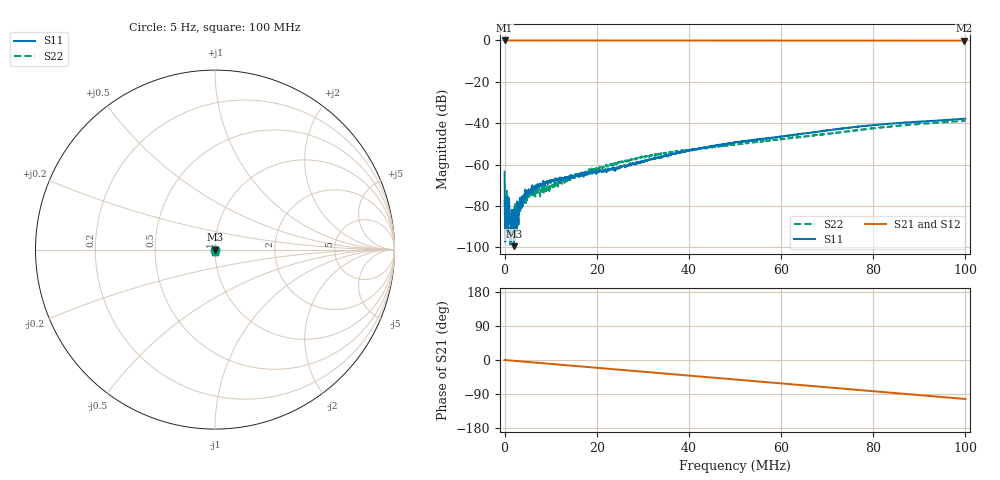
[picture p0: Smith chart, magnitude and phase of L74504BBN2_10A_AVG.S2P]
!Agilent Technologies,E5061B,MY49102235,A.02.00
!Date: Mon Jul 10 17:13:10 2023
!Data & Calibration Information:
!Freq	S11:SOLT2(ON)	S21:SOLT2(ON)	S12:SOLT2(ON)	S22:SOLT2(ON)
# Hz S RI R 50
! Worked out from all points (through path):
!   1600 points, 5 Hz to 100 MHz, reference 50 ohm
!   highest |S21| = 0.02 dB at 5 Hz (marker M1); lowest = -0.1 dB at 99.75 MHz (marker M2)
!   group delay of S21, straight-line fit = 2.86 ns
!   lowest |S11| = -99.4 dB at 2.001 MHz (marker M3), VSWR 1.00, Z = 50 + j0.00107 ohm
!   |S11| at or under -10 dB: start of sweep to end of sweep
!   |S22| runs from -99.3 to -38.8 dB; largest |S21 - S12| = 0.0027
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5  -0.000513 0.000439  1.002 0.0023  1.001 -5.27e-05  -0.000131 -6.2e-05
562856.8  0.000133 0.000103  0.9997 -0.0103  0.9996 -0.00988  6.72e-05 5.17e-05
938091.3  -0.000156 1.29e-05  0.9996 -0.0167  0.9995 -0.0162  -0.000128 2.83e-07
1188248  -4e-05 8.3e-06  0.9997 -0.0213  0.9995 -0.021  -7.21e-06 8.03e-06
2001256  9.17e-07 1.07e-05  0.9997 -0.036  0.9988 -0.0358  -9.43e-06 -3.72e-05
2876803  3.32e-05 -8.62e-05  0.9989 -0.052  0.9982 -0.0515  2.18e-05 -0.000113
3314576  5.29e-05 -0.000148  0.9982 -0.0596  0.9982 -0.0594  5.87e-06 -7.52e-05
4002506  0.000103 -0.000142  0.9973 -0.0719  0.9972 -0.0715  4.38e-05 -0.00012
5003132  0.000113 -0.000189  0.9959 -0.0899  0.9956 -0.0896  -4.3e-05 -0.000201
5503444  8.04e-05 -0.00022  0.995 -0.0988  0.9949 -0.0987  4.62e-05 -0.000186
7879930  0.000127 -0.000313  0.9899 -0.141  0.9898 -0.1408  7.25e-05 -0.000217
9193250  0.000211 -0.000345  0.9862 -0.1643  0.9862 -0.1641  0.000161 -0.000256
1.075673e7  0.000236 -0.000296  0.9813 -0.1921  0.9811 -0.1918  0.000162 -0.000305
1.669794e7  0.000418 -0.000368  0.9551 -0.2951  0.9551 -0.295  0.000483 -0.000414
2.226392e7  0.000664 -0.000392  0.9207 -0.3889  0.9208 -0.3888  0.000717 -0.000656
3.333334e7  0.00108 -0.000939  0.8254 -0.5629  0.8254 -0.5626  0.00118 -0.00141
4.002502e7  0.00159 -0.00152  0.7514 -0.6573  0.7517 -0.6573  0.00132 -0.0018
5.003127e7  0.00248 -0.0024  0.6215 -0.7805  0.6216 -0.7804  0.00187 -0.00236
6.672921e7  0.0025 -0.00549  0.3623 -0.9277  0.3623 -0.9274  0.00224 -0.00444
8.33646e7  0.00316 -0.00927  0.0725 -0.9911  0.0729 -0.9907  0.00353 -0.00745
9.974984e7  0.000947 -0.0129  -0.2181 -0.9664  -0.218 -0.9666  0.00253 -0.0111
1e8  0.000887 -0.0129  -0.2224 -0.9655  -0.2222 -0.9656  0.00231 -0.0112
